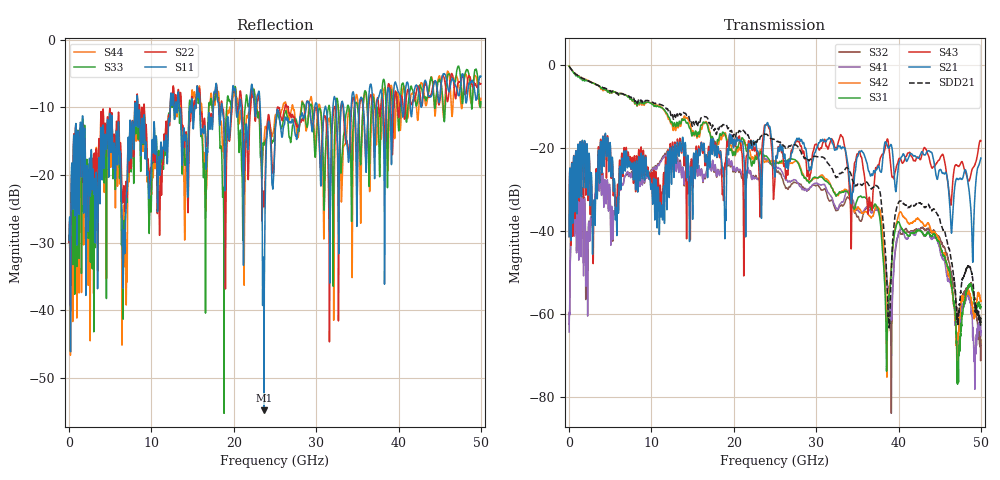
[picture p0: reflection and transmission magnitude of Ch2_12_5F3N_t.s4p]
!Agilent Technologies,N5247A,US51170199,A.09.90.13
!Agilent N5247A: A.09.90.13
!Date: Tuesday, December 08, 2015 12:46:28
!Correction: S11(Full 4 Port(1,2,3,4))
!S12(Full 4 Port(1,2,3,4))
!S13(Full 4 Port(1,2,3,4))
!S14(Full 4 Port(1,2,3,4))
!S21(Full 4 Port(1,2,3,4))
!S22(Full 4 Port(1,2,3,4))
!S23(Full 4 Port(1,2,3,4))
!S24(Full 4 Port(1,2,3,4))
!S31(Full 4 Port(1,2,3,4))
!S32(Full 4 Port(1,2,3,4))
!S33(Full 4 Port(1,2,3,4))
!S34(Full 4 Port(1,2,3,4))
!S41(Full 4 Port(1,2,3,4))
!S42(Full 4 Port(1,2,3,4))
!S43(Full 4 Port(1,2,3,4))
!S44(Full 4 Port(1,2,3,4))
!S4P File: Measurements: <S11,S12,S13,S14>,
!<S21,S22,S23,S24>,
!<S31,S32,S33,S34>,
!<S41,S42,S43,S44>:
# Hz S  dB  R 50
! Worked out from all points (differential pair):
!   3201 points, 10 MHz to 50 GHz, reference 50 ohm
!   strongest paths, dB at 10 MHz, 12.51 GHz, 25 GHz, 37.5 GHz, 50 GHz:
!     S21: -41.3, -21.6, -26.9, -24.4, -22.4
!     S43: -41.3, -20.6, -27.1, -24.1, -18.3
!     S31: -0.3, -13.8, -23.6, -34.5, -58.3
!     S42: -0.3, -14.3, -23.2, -34.2, -56.9
!     S41: -64.3, -21.5, -24.3, -35.1, -65.2
!     S32: -62.5, -21.1, -25.2, -35.0, -66.2
!   taken as a pair (ports 1,2 in; 3,4 out), SDD21 dB: -0.3, -11.7, -18.1, -29.3, -62.1
!   lowest |S11| = -54.8 dB at 23.66 GHz (marker M1), VSWR 1.00, Z = 49.8 - j0.0286 ohm
!   |S11| at or under -10 dB: start of sweep to 7.975 GHz; 8.341 GHz to 12.29 GHz (3.947 GHz wide, 38.3 % of centre); 23.21 GHz to 28.79 GHz (5.587 GHz wide, 21.5 % of centre)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
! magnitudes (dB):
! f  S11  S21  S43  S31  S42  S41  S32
! 10 MHz  -29.7  -41.3  -41.3  -0.3  -0.3  -64.3  -62.5
! 3.915 GHz  -13.1  -20.6  -20.9  -5.6  -5.8  -30.0  -29.8
! 22.21 GHz  -6.6  -20.1  -20.3  -24.2  -22.5  -27.6  -27.6
! 23.66 GHz  -54.8  -17.7  -15.5  -21.8  -23.2  -22.3  -22.4
! 37.32 GHz  -10.1  -25.2  -24.9  -33.9  -34.2  -34.9  -34.8
! 38.61 GHz  -8.2  -19.3  -17.9  -66.0  -69.9  -53.1  -52.0
! 50 GHz  -5.4  -22.4  -18.3  -58.3  -56.9  -65.2  -66.2
